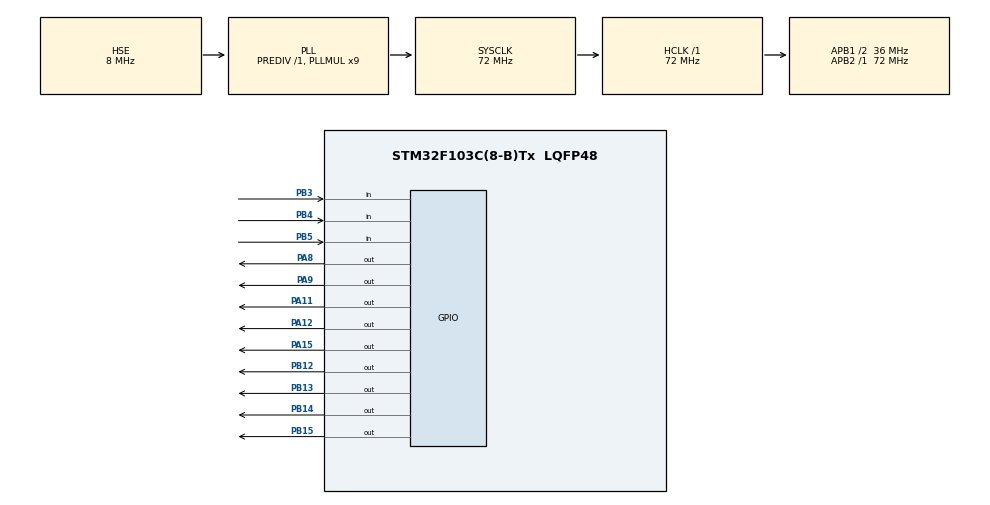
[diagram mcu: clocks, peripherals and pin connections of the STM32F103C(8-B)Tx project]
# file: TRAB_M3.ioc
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Mcu.Family=STM32F1
Mcu.Name=STM32F103C(8-B)Tx
Mcu.Package=LQFP48
NVIC.PriorityGroup=NVIC_PRIORITYGROUP_4
PA11.Signal=GPIO_Output
PA12.Signal=GPIO_Output
PA13.Mode=Serial_Wire
PA13.Signal=SYS_JTMS-SWDIO
PA14.Mode=Serial_Wire
PA14.Signal=SYS_JTCK-SWCLK
PA15.Signal=GPIO_Output
PA8.Signal=GPIO_Output
PA9.Signal=GPIO_Output
PB12.Signal=GPIO_Output
PB13.Signal=GPIO_Output
PB14.Signal=GPIO_Output
PB15.Signal=GPIO_Output
PB3.Signal=GPIO_Input
PB4.Signal=GPIO_Input
PB5.Signal=GPIO_Input
PD0-OSC_IN.Mode=HSE-External-Oscillator
PD0-OSC_IN.Signal=RCC_OSC_IN
PD1-OSC_OUT.Mode=HSE-External-Oscillator
PD1-OSC_OUT.Signal=RCC_OSC_OUT
ProjectManager.HeapSize=0x200
ProjectManager.StackSize=0x400
ProjectManager.TargetToolchain=STM32CubeIDE
RCC.AHBFreq_Value=72000000
RCC.APB1CLKDivider=RCC_HCLK_DIV2
RCC.APB1Freq_Value=36000000
RCC.APB1TimFreq_Value=72000000
RCC.APB2Freq_Value=72000000
RCC.APB2TimFreq_Value=72000000
RCC.HCLKFreq_Value=72000000
RCC.PLLMUL=RCC_PLL_MUL9
RCC.PLLSourceVirtual=RCC_PLLSOURCE_HSE
RCC.SYSCLKFreq_VALUE=72000000
RCC.SYSCLKSource=RCC_SYSCLKSOURCE_PLLCLK
RCC.USBFreq_Value=72000000
board=custom

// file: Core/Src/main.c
/* USER CODE BEGIN Header */
/**
  ******************************************************************************
  * @file           : main.c
  * @brief          : Main program body
  ******************************************************************************
  * @attention
  *
  * Copyright (c) 2026 STMicroelectronics.
  * All rights reserved.
  *
  * This software is licensed under terms that can be found in the LICENSE file
  * in the root directory of this software component.
  * If no LICENSE file comes with this software, it is provided AS-IS.
  *
  ******************************************************************************
  */
/* USER CODE END Header */
#include "main.h"

/* USER CODE BEGIN Includes */
#include <stdbool.h>
/* USER CODE END Includes */

/* USER CODE BEGIN PD */
#define EMPTY  0U
#define RED    1U
#define GREEN  2U

#define MULTIPLEX_INTERVAL_MS  2U
#define WINNER_BLINK_INTERVAL_MS  500U
#define DRAW_BLINK_INTERVAL_MS    500U
#define RESET_HOLD_TIME_MS          3000U
#define CENTER_RELEASE_DEBOUNCE_MS      80U
/* USER CODE END PD */

/* USER CODE BEGIN PV */

/* Matriz dos botões */

GPIO_TypeDef * const buttonRowPort[3] =
{
    GPIOA,
    GPIOA,
    GPIOA
};

const uint16_t buttonRowPin[3] =
{
    GPIO_PIN_11,
    GPIO_PIN_12,
    GPIO_PIN_15
};

GPIO_TypeDef * const buttonColumnPort[3] =
{
    GPIOB,
    GPIOB,
    GPIOB
};

const uint16_t buttonColumnPin[3] =
{
    GPIO_PIN_5,
    GPIO_PIN_4,
    GPIO_PIN_3
};

/* Indica se o botão foi pressionado */
bool buttonState[3][3] =
{
    {false, false, false},
    {false, false, false},
    {false, false, false}
};

/* Mapeamento físico das linhas */
GPIO_TypeDef * const rowPort[3] = {GPIOB, GPIOB, GPIOB};
const uint16_t rowPin[3] = {GPIO_PIN_12, GPIO_PIN_13, GPIO_PIN_14};

/* Mapeamento físico das colunas */
GPIO_TypeDef * const columnPort[3] = {GPIOA, GPIOA, GPIOB};
const uint16_t columnPin[3] = {GPIO_PIN_9, GPIO_PIN_8, GPIO_PIN_15};

/* Controlam qual posição da matriz será exibida agora */
static uint8_t scanRow = 0U;
static uint8_t scanColumn = 0U;
static uint32_t lastMultiplexTime = 0U;

// Ligação dos LEDs na placa
// B12xB15 | B12xB15 | B12xB15
// B13xA08 | B13xA08 | B13xA08
// B14xA09 | B14xA09 | B14xA09
/*
uint8_t tic_tac_toe[3][3] =
{
    {EMPTY, EMPTY, EMPTY},
    {EMPTY, EMPTY, EMPTY},
    {EMPTY, EMPTY, EMPTY}
};*/

uint8_t tic_tac_toe[3][3] =
{
    {EMPTY, EMPTY, EMPTY},
    {EMPTY, EMPTY, EMPTY},
    {EMPTY, EMPTY, EMPTY}
};
// EMPTY = Apagado
// RED	 = Vermelho
// GREEN = Verde

bool Turn = false;
// False = 1/X
// True  = 2/O
uint8_t winner = EMPTY;
bool gameOver = false;
bool isDraw = false;

/* Controle do pisca quando alguém vence */
static bool winnerBlinkOn = true;
static uint32_t lastWinnerBlinkTime = 0U;

/* Controle do pisca em xadrez quando a partida termina empatada */
static bool drawPatternA = true;
static uint32_t lastDrawBlinkTime = 0U;

/* Controle do botão central [1][1] para reinício secreto */
static uint32_t centerButtonPressStart = 0U;
static bool centerButtonTiming = false;
static bool centerButtonResetLocked = false;

/* Evita uma falsa nova jogada causada pelo bounce ao soltar após o reset. */
static uint32_t centerButtonReleaseStart = 0U;
static bool centerButtonReleaseTiming = false;

/* USER CODE END PV */

void SystemClock_Config(void);
static void MX_GPIO_Init(void);
/* USER CODE BEGIN PFP */

static void ScanButtons(void);
static void SetAllButtonRowsHigh(void);

static void MatrixAllOff(void);
static void MatrixConfigureOutput(GPIO_TypeDef *port, uint16_t pin);
static void MatrixShowCell(uint8_t row, uint8_t column, uint8_t color);
static void RefreshLedMatrix(void);
static void RefreshWinnerBlink(void);
static void RefreshDrawBlink(void);
static void ProcessButtons(void);

static uint8_t CheckWinner(void);
static bool CheckDraw(void);
static bool CheckSecretReset(void);
static void ResetGame(void);

/* USER CODE END PFP */

int main(void)
{

  /* MCU Configuration--------------------------------------------------------*/

  /* Reset of all peripherals, Initializes the Flash interface and the Systick. */
  HAL_Init();

  /* Configure the system clock */
  SystemClock_Config();

  /* Initialize all configured peripherals */
  MX_GPIO_Init();
  /* USER CODE BEGIN 2 */
  MatrixAllOff();
  /* USER CODE END 2 */

  /* Infinite loop */
  while (1)
  {

    /* USER CODE BEGIN 3 */

      ScanButtons();

      /* O botão central [1][1] pressionado por 5 s reinicia a partida. */
      if (CheckSecretReset() == false)
      {
          ProcessButtons();
      }

      /* Enquanto a partida estiver ativa, verifica vitória ou empate. */
      if (gameOver == false)
      {
          winner = CheckWinner();

          /* Ao detectar vencedor, inicia o pisca da cor vencedora. */
          if (winner != EMPTY)
          {
              gameOver = true;
              isDraw = false;
              winnerBlinkOn = true;
              lastWinnerBlinkTime = HAL_GetTick();
          }
          /* Se ninguém venceu e não há mais posições vazias, é empate. */
          else if (CheckDraw() == true)
          {
              gameOver = true;
              isDraw = true;
              drawPatternA = true;
              lastDrawBlinkTime = HAL_GetTick();
          }
      }

      if (gameOver == true)
      {
          if (isDraw == true)
          {
              RefreshDrawBlink();
          }
          else
          {
              RefreshWinnerBlink();
          }
      }
      else
      {
          RefreshLedMatrix();
      }

  /* USER CODE END 3 */
  }
}

void SystemClock_Config(void)
{
  RCC_OscInitTypeDef RCC_OscInitStruct = {0};
  RCC_ClkInitTypeDef RCC_ClkInitStruct = {0};

  /** Initializes the RCC Oscillators according to the specified parameters
  * in the RCC_OscInitTypeDef structure.
  */
  RCC_OscInitStruct.OscillatorType = RCC_OSCILLATORTYPE_HSE;
  RCC_OscInitStruct.HSEState = RCC_HSE_ON;
  RCC_OscInitStruct.HSEPredivValue = RCC_HSE_PREDIV_DIV1;
  RCC_OscInitStruct.HSIState = RCC_HSI_ON;
  RCC_OscInitStruct.PLL.PLLState = RCC_PLL_ON;
  RCC_OscInitStruct.PLL.PLLSource = RCC_PLLSOURCE_HSE;
  RCC_OscInitStruct.PLL.PLLMUL = RCC_PLL_MUL9;
  if (HAL_RCC_OscConfig(&RCC_OscInitStruct) != HAL_OK)
  {
    Error_Handler();
  }

  /** Initializes the CPU, AHB and APB buses clocks
  */
  RCC_ClkInitStruct.ClockType = RCC_CLOCKTYPE_HCLK|RCC_CLOCKTYPE_SYSCLK
                              |RCC_CLOCKTYPE_PCLK1|RCC_CLOCKTYPE_PCLK2;
  RCC_ClkInitStruct.SYSCLKSource = RCC_SYSCLKSOURCE_PLLCLK;
  RCC_ClkInitStruct.AHBCLKDivider = RCC_SYSCLK_DIV1;
  RCC_ClkInitStruct.APB1CLKDivider = RCC_HCLK_DIV2;
  RCC_ClkInitStruct.APB2CLKDivider = RCC_HCLK_DIV1;

  if (HAL_RCC_ClockConfig(&RCC_ClkInitStruct, FLASH_LATENCY_2) != HAL_OK)
  {
    Error_Handler();
  }
}

static void MX_GPIO_Init(void)
{
  GPIO_InitTypeDef GPIO_InitStruct = {0};

  /* GPIO Ports Clock Enable */
  __HAL_RCC_GPIOD_CLK_ENABLE();
  __HAL_RCC_GPIOB_CLK_ENABLE();
  __HAL_RCC_GPIOA_CLK_ENABLE();

  /*Configure GPIO pin Output Level */
  HAL_GPIO_WritePin(GPIOB, GPIO_PIN_12|GPIO_PIN_13|GPIO_PIN_14|GPIO_PIN_15, GPIO_PIN_RESET);

  /*Configure GPIO pin Output Level */
  HAL_GPIO_WritePin(GPIOA, GPIO_PIN_8|GPIO_PIN_9|GPIO_PIN_11|GPIO_PIN_12
                          |GPIO_PIN_15, GPIO_PIN_RESET);

  /*Configure GPIO pins : PB12 PB13 PB14 PB15 */
  GPIO_InitStruct.Pin = GPIO_PIN_12|GPIO_PIN_13|GPIO_PIN_14|GPIO_PIN_15;
  GPIO_InitStruct.Mode = GPIO_MODE_OUTPUT_PP;
  GPIO_InitStruct.Pull = GPIO_NOPULL;
  GPIO_InitStruct.Speed = GPIO_SPEED_FREQ_LOW;
  HAL_GPIO_Init(GPIOB, &GPIO_InitStruct);

  /*Configure GPIO pins : PA8 PA9 PA11 PA12
                           PA15 */
  GPIO_InitStruct.Pin = GPIO_PIN_8|GPIO_PIN_9|GPIO_PIN_11|GPIO_PIN_12
                          |GPIO_PIN_15;
  GPIO_InitStruct.Mode = GPIO_MODE_OUTPUT_PP;
  GPIO_InitStruct.Pull = GPIO_NOPULL;
  GPIO_InitStruct.Speed = GPIO_SPEED_FREQ_LOW;
  HAL_GPIO_Init(GPIOA, &GPIO_InitStruct);

  /*Configure GPIO pins : PB3 PB4 PB5 (colunas dos botões) */
  GPIO_InitStruct.Pin = GPIO_PIN_3|GPIO_PIN_4|GPIO_PIN_5;
  GPIO_InitStruct.Mode = GPIO_MODE_INPUT;
  GPIO_InitStruct.Pull = GPIO_PULLUP;
  HAL_GPIO_Init(GPIOB, &GPIO_InitStruct);

}

/* USER CODE BEGIN 4 */

static void SetAllButtonRowsHigh(void)
{
    HAL_GPIO_WritePin(GPIOA, GPIO_PIN_11 | GPIO_PIN_12 | GPIO_PIN_15, GPIO_PIN_SET);
}

static void ScanButtons(void)
{
    uint8_t row;
    uint8_t column;

    for (row = 0; row < 3; row++)
    {
        /*
         * Primeiro deixa todas as linhas em HIGH.
         * Depois coloca somente a linha atual em LOW.
         */
        SetAllButtonRowsHigh();

        HAL_GPIO_WritePin(buttonRowPort[row],
                          buttonRowPin[row],
                          GPIO_PIN_RESET);

        /*
         * Lê as três colunas.
         * Se a coluna estiver LOW, existe um botão pressionado
         * entre aquela linha e aquela coluna.
         */
        for (column = 0; column < 3; column++)
        {
            if (HAL_GPIO_ReadPin(buttonColumnPort[column],
                                 buttonColumnPin[column]) == GPIO_PIN_RESET)
            {
                buttonState[row][column] = true;
            }
            else
            {
                buttonState[row][column] = false;
            }
        }
    }

    /* Ao terminar, deixa todas as linhas em HIGH novamente. */
    SetAllButtonRowsHigh();
}

static void ProcessButtons(void)
{
    uint8_t row;
    uint8_t column;

    if (gameOver == true)
    {
        return;
    }

    for (row = 0U; row < 3U; row++)
    {
        for (column = 0U; column < 3U; column++)
        {
            /*
             * Depois do reinício por 5 segundos, o botão central continua
             * bloqueado até ser solto. Isso evita iniciar uma jogada nova
             * automaticamente logo após limpar o tabuleiro.
             */
            if ((row == 1U) && (column == 1U) &&
                (centerButtonResetLocked == true))
            {
                continue;
            }

            /*
             * Uma jogada só é aceita se o botão estiver pressionado
             * e a posição correspondente ainda estiver vazia.
             */
            if ((buttonState[row][column] == true) &&
                (tic_tac_toe[row][column] == EMPTY))
            {
                if (Turn == false)
                {
                    tic_tac_toe[row][column] = RED;
                }
                else
                {
                    tic_tac_toe[row][column] = GREEN;
                }

                /* Alterna: vermelho -> verde -> vermelho... */
                Turn = !Turn;

                /* Aceita apenas uma jogada por varredura. */
                return;
            }
        }
    }
}

/*
 * Mantendo o botão central [1][1] pressionado durante 5 segundos,
 * o tabuleiro é apagado e uma partida nova é iniciada.
 * Retorna true somente no ciclo em que o reinício acontece.
 */
static bool CheckSecretReset(void)
{
    bool centerPressed = buttonState[1][1];
    uint32_t currentTime = HAL_GetTick();

    /*
     * Depois que o jogo é reiniciado, o botão central fica bloqueado.
     * O bloqueio só é liberado quando ele permanece SOLTO por 80 ms.
     * Isso elimina o bounce que poderia ser interpretado como uma nova
     * pressão e registrar uma jogada no centro logo após o reset.
     */
    if (centerButtonResetLocked == true)
    {
        if (centerPressed == true)
        {
            /* Ainda está pressionado: reinicia a contagem de soltura. */
            centerButtonReleaseTiming = false;
        }
        else
        {
            /* Começou a ficar solto: inicia a confirmação de 80 ms. */
            if (centerButtonReleaseTiming == false)
            {
                centerButtonReleaseStart = currentTime;
                centerButtonReleaseTiming = true;
            }
            else if ((currentTime - centerButtonReleaseStart) >=
                     CENTER_RELEASE_DEBOUNCE_MS)
            {
                /* Soltura estável confirmada: próxima pressão será uma jogada normal. */
                centerButtonResetLocked = false;
                centerButtonReleaseTiming = false;
            }
        }

        /*
         * Mesmo no ciclo em que destrava, retorna true para impedir
         * ProcessButtons() de registrar uma jogada usando uma leitura
         * instável do botão.
         */
        return true;
    }

    /* Botão solto antes de completar 5 s: cancela a contagem. */
    if (centerPressed == false)
    {
        centerButtonTiming = false;
        return false;
    }

    /* Marca o instante em que o botão central começou a ser pressionado. */
    if (centerButtonTiming == false)
    {
        centerButtonPressStart = currentTime;
        centerButtonTiming = true;
        return false;
    }

    /* Após 5 segundos contínuos, reinicia uma única vez. */
    if ((currentTime - centerButtonPressStart) >= RESET_HOLD_TIME_MS)
    {
        ResetGame();

        centerButtonTiming = false;
        centerButtonResetLocked = true;
        centerButtonReleaseTiming = false;

        return true;
    }

    return false;
}

static void ResetGame(void)
{
    uint8_t row;
    uint8_t column;

    for (row = 0U; row < 3U; row++)
    {
        for (column = 0U; column < 3U; column++)
        {
            tic_tac_toe[row][column] = EMPTY;
        }
    }

    /* O vermelho/X inicia todas as partidas novas. */
    Turn = false;
    winner = EMPTY;
    gameOver = false;
    isDraw = false;

    /* Restaura os estados visuais para a próxima partida. */
    winnerBlinkOn = true;
    lastWinnerBlinkTime = HAL_GetTick();
    drawPatternA = true;
    lastDrawBlinkTime = HAL_GetTick();

    /* Também limpa a confirmação de soltura do botão central. */
    centerButtonReleaseTiming = false;
    centerButtonReleaseStart = 0U;

    /* Reinicia a varredura visual pela posição [0][0]. */
    scanRow = 0U;
    scanColumn = 0U;

    MatrixAllOff();
}

static uint8_t CheckWinner(void)
{
    uint8_t i;

    /* Verifica as 3 linhas */
    for (i = 0U; i < 3U; i++)
    {
        if ((tic_tac_toe[i][0] != EMPTY) &&
            (tic_tac_toe[i][0] == tic_tac_toe[i][1]) &&
            (tic_tac_toe[i][1] == tic_tac_toe[i][2]))
        {
            return tic_tac_toe[i][0];
        }
    }

    /* Verifica as 3 colunas */
    for (i = 0U; i < 3U; i++)
    {
        if ((tic_tac_toe[0][i] != EMPTY) &&
            (tic_tac_toe[0][i] == tic_tac_toe[1][i]) &&
            (tic_tac_toe[1][i] == tic_tac_toe[2][i]))
        {
            return tic_tac_toe[0][i];
        }
    }

    /* Verifica a diagonal principal */
    if ((tic_tac_toe[0][0] != EMPTY) &&
        (tic_tac_toe[0][0] == tic_tac_toe[1][1]) &&
        (tic_tac_toe[1][1] == tic_tac_toe[2][2]))
    {
        return tic_tac_toe[0][0];
    }

    /* Verifica a diagonal secundária */
    if ((tic_tac_toe[0][2] != EMPTY) &&
        (tic_tac_toe[0][2] == tic_tac_toe[1][1]) &&
        (tic_tac_toe[1][1] == tic_tac_toe[2][0]))
    {
        return tic_tac_toe[0][2];
    }

    /* Nenhum jogador venceu */
    return EMPTY;
}

static bool CheckDraw(void)
{
    uint8_t row;
    uint8_t column;

    /* Se existir ao menos uma posição vazia, a partida ainda continua. */
    for (row = 0U; row < 3U; row++)
    {
        for (column = 0U; column < 3U; column++)
        {
            if (tic_tac_toe[row][column] == EMPTY)
            {
                return false;
            }
        }
    }

    /* Tabuleiro cheio; a função só é usada depois de CheckWinner(). */
    return true;
}

static void MatrixAllOff(void)
{
    GPIO_InitTypeDef GPIO_InitStruct = {0};

    GPIO_InitStruct.Mode = GPIO_MODE_INPUT;
    GPIO_InitStruct.Pull = GPIO_NOPULL;

    GPIO_InitStruct.Pin = GPIO_PIN_12 | GPIO_PIN_13 | GPIO_PIN_14 | GPIO_PIN_15;
    HAL_GPIO_Init(GPIOB, &GPIO_InitStruct);

    GPIO_InitStruct.Pin = GPIO_PIN_8 | GPIO_PIN_9;
    HAL_GPIO_Init(GPIOA, &GPIO_InitStruct);
}

static void MatrixConfigureOutput(GPIO_TypeDef *port, uint16_t pin)
{
    GPIO_InitTypeDef GPIO_InitStruct = {0};

    GPIO_InitStruct.Pin = pin;
    GPIO_InitStruct.Mode = GPIO_MODE_OUTPUT_PP;
    GPIO_InitStruct.Pull = GPIO_NOPULL;
    GPIO_InitStruct.Speed = GPIO_SPEED_FREQ_LOW;

    HAL_GPIO_Init(port, &GPIO_InitStruct);
}

static void MatrixShowCell(uint8_t row, uint8_t column, uint8_t color)
{
    GPIO_TypeDef *activeRowPort;
    GPIO_TypeDef *activeColumnPort;

    uint16_t activeRowPin;
    uint16_t activeColumnPin;

    activeRowPort = rowPort[row];
    activeRowPin = rowPin[row];

    activeColumnPort = columnPort[column];
    activeColumnPin = columnPin[column];

    MatrixAllOff();

    if (color == EMPTY) {
        return;
    }

    if (color == RED) {
        HAL_GPIO_WritePin(activeRowPort, activeRowPin, GPIO_PIN_SET);

        HAL_GPIO_WritePin(activeColumnPort, activeColumnPin, GPIO_PIN_RESET);
    } else if (color == GREEN) {
        HAL_GPIO_WritePin(activeRowPort, activeRowPin, GPIO_PIN_RESET);

        HAL_GPIO_WritePin(activeColumnPort, activeColumnPin, GPIO_PIN_SET);
    } else {
        return;
    }

    MatrixConfigureOutput(activeRowPort, activeRowPin);
    MatrixConfigureOutput(activeColumnPort, activeColumnPin);
}

static void RefreshLedMatrix(void)
{
    uint32_t currentTime = HAL_GetTick();

    /*
     * A cada 1 ms, mostra uma posição diferente.
     * São 9 posições: o tabuleiro inteiro é atualizado
     * aproximadamente a cada 9 ms.
     */
    if ((currentTime - lastMultiplexTime) < MULTIPLEX_INTERVAL_MS)
    {
        return;
    }

    lastMultiplexTime = currentTime;

    MatrixShowCell(scanRow,
                   scanColumn,
                   tic_tac_toe[scanRow][scanColumn]);

    /* Avança: [0][0], [0][1], [0][2], [1][0]... */
    scanColumn++;

    if (scanColumn >= 3U)
    {
        scanColumn = 0U;
        scanRow++;

        if (scanRow >= 3U)
        {
            scanRow = 0U;
        }
    }
}

static void RefreshWinnerBlink(void)
{
    uint32_t currentTime = HAL_GetTick();

    /* Alterna entre todos ligados e todos apagados a cada 500 ms. */
    if ((currentTime - lastWinnerBlinkTime) >= WINNER_BLINK_INTERVAL_MS)
    {
        lastWinnerBlinkTime = currentTime;
        winnerBlinkOn = !winnerBlinkOn;
    }

    /* Mantém a varredura dos 9 LEDs ativa durante o pisca. */
    if ((currentTime - lastMultiplexTime) < MULTIPLEX_INTERVAL_MS)
    {
        return;
    }

    lastMultiplexTime = currentTime;

    if (winnerBlinkOn == true)
    {
        /* Acende a posição atual na cor de quem venceu. */
        MatrixShowCell(scanRow, scanColumn, winner);
    }
    else
    {
        /* Fase apagada do pisca. */
        MatrixShowCell(scanRow, scanColumn, EMPTY);
    }

    /* Avança: [0][0], [0][1], ... [2][2]. */
    scanColumn++;

    if (scanColumn >= 3U)
    {
        scanColumn = 0U;
        scanRow++;

        if (scanRow >= 3U)
        {
            scanRow = 0U;
        }
    }
}

/*
 * Exibe um padrão em xadrez quando a partida termina sem vencedor:
 *
 * Padrão A:                  Padrão B:
 * RED   GREEN RED           GREEN RED   GREEN
 * GREEN RED   GREEN         RED   GREEN RED
 * RED   GREEN RED           GREEN RED   GREEN
 */
static void RefreshDrawBlink(void)
{
    uint32_t currentTime = HAL_GetTick();
    uint8_t color;

    /* Alterna entre os dois padrões em xadrez. */
    if ((currentTime - lastDrawBlinkTime) >= DRAW_BLINK_INTERVAL_MS)
    {
        lastDrawBlinkTime = currentTime;
        drawPatternA = !drawPatternA;
    }

    /* Mantém a multiplexação de uma célula por vez. */
    if ((currentTime - lastMultiplexTime) < MULTIPLEX_INTERVAL_MS)
    {
        return;
    }

    lastMultiplexTime = currentTime;

    /*
     * Posições cuja soma linha+coluna é par ocupam as quinas e o centro.
     * No padrão A, elas são vermelhas; no padrão B, verdes.
     */
    if (((scanRow + scanColumn) % 2U) == 0U)
    {
        color = (drawPatternA == true) ? RED : GREEN;
    }
    else
    {
        color = (drawPatternA == true) ? GREEN : RED;
    }

    MatrixShowCell(scanRow, scanColumn, color);

    /* Avança: [0][0], [0][1], ... [2][2]. */
    scanColumn++;

    if (scanColumn >= 3U)
    {
        scanColumn = 0U;
        scanRow++;

        if (scanRow >= 3U)
        {
            scanRow = 0U;
        }
    }
}

/* USER CODE END 4 */

void Error_Handler(void)
{
  __disable_irq();
  while (1)
  {
  }
}
